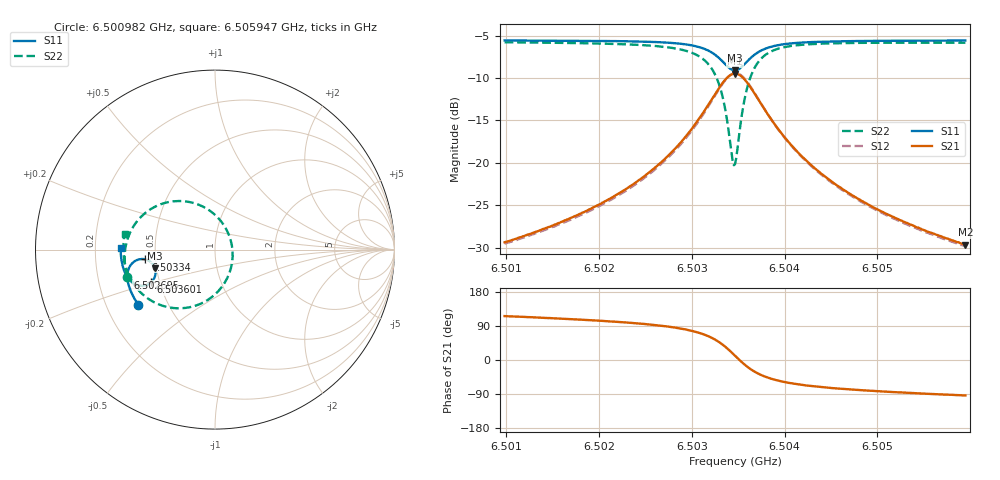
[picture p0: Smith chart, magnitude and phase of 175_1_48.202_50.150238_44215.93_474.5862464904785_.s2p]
#  HZ  S  RI  R  50.00
! Rohde & Schwarz Vector Network Analyzer
! Rohde-Schwarz,ZNB20-2Port,1311601062101988,3.16
! Created: UTC 3/20/2024, 11:43:53 AM
! freq[Hz]  re:S11  im:S11  re:S21  im:S21  re:S12  im:S12  re:S22  im:S22
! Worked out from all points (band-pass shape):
!   401 points, 6.500982 GHz to 6.505947 GHz, reference 50 ohm
!   highest |S21| = -9.48 dB at 6.503465 GHz (marker M1); lowest = -29.7 dB at 6.505947 GHz (marker M2)
!   |S21| within 3 dB of the highest: 6.503216 GHz to 6.503713 GHz (496.7 kHz wide, 0.00764 % of centre)
!   lowest |S11| = -9.1 dB at 6.503465 GHz (marker M3), VSWR 2.08, Z = 24.5 - j5.87 ohm
!   |S11| at or under -10 dB: nowhere
!   |S22| runs from -20.3 to -5.8 dB; largest |S21 - S12| = 0.012
!   S11 on the Smith chart (normalised r, x): 6.500982 GHz: 0.34, -0.29; 6.502695 GHz: 0.33, -0.14; 6.50334 GHz: 0.44, -0.06; 6.503601 GHz: 0.45, -0.19; 6.505947 GHz: 0.31, +0.01
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6.5009819e9  -0.4277 -0.3071  -0.0148 0.0306  -0.0131 0.0307  -0.4908 -0.1509
6.5018136e9  -0.4632 -0.2454  -0.0143 0.0486  -0.0118 0.0481  -0.5034 -0.0619
6.5022729e9  -0.4792 -0.2043  -0.0112 0.0681  -0.00812 0.067  -0.4999 0.00419
6.5026453e9  -0.4878 -0.1627  -0.0018 0.098  0.00177 0.0957  -0.4799 0.0797
6.502695e9  -0.4883 -0.1561  0.000699 0.1037  0.00435 0.1011  -0.4743 0.0924
6.5029308e9  -0.485 -0.1194  0.023 0.1403  0.027 0.136  -0.4271 0.1664
6.5030922e9  -0.4707 -0.0873  0.0623 0.1762  0.065 0.1703  -0.3512 0.2297
6.5032412e9  -0.4333 -0.0577  0.1432 0.2049  0.1442 0.1984  -0.2034 0.2706
6.5033405e9  -0.3873 -0.0546  0.2338 0.1883  0.2341 0.1834  -0.0464 0.228
6.5034274e9  -0.3449 -0.0833  0.3115 0.1144  0.3139 0.1097  0.0773 0.0823
6.5034522e9  -0.3371 -0.0974  0.3249 0.083  0.3279 0.0776  0.0941 0.0227
6.5034646e9  -0.3342 -0.1052  0.3291 0.0661  0.3324 0.0603  0.0978 -0.0083
6.5034894e9  -0.3313 -0.1212  0.3325 0.0319  0.336 0.0249  0.0952 -0.0712
6.5035267e9  -0.3334 -0.1449  0.3252 -0.0178  0.3284 -0.0269  0.0681 -0.1591
6.5036012e9  -0.3554 -0.1815  0.279 -0.0935  0.2787 -0.1049  -0.041 -0.2808
6.5037005e9  -0.396 -0.2007  0.2017 -0.1366  0.1966 -0.1465  -0.1986 -0.3269
6.5038618e9  -0.4446 -0.193  0.1146 -0.1364  0.1074 -0.1416  -0.357 -0.2833
6.5040356e9  -0.4735 -0.1718  0.067 -0.1157  0.0605 -0.1181  -0.4344 -0.2168
6.5042963e9  -0.4959 -0.1405  0.0343 -0.0893  0.0296 -0.0898  -0.4817 -0.1394
6.5046687e9  -0.5115 -0.1012  0.0152 -0.0657  0.0117 -0.0652  -0.5043 -0.064
6.505128e9  -0.521 -0.0586  0.00519 -0.0489  0.00272 -0.0482  -0.5105 0.00188
6.5059473e9  -0.5259 0.0109  -0.0021 -0.0328  -0.00335 -0.0321  -0.5029 0.0893
